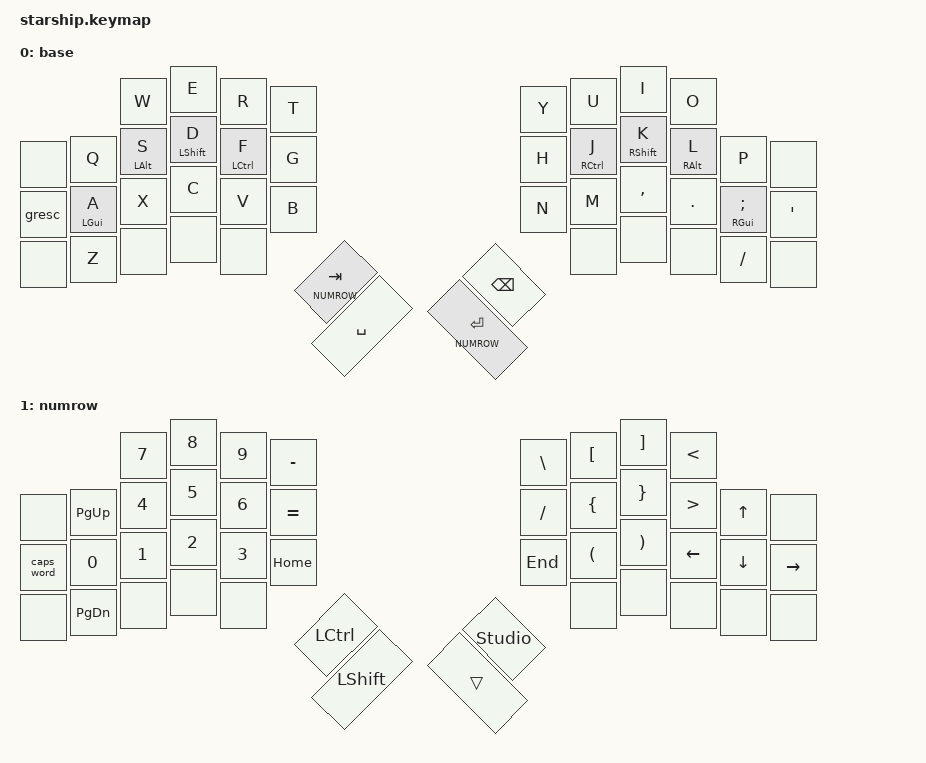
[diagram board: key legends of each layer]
#include <behaviors.dtsi>
#include <dt-bindings/zmk/keys.h>
#include <dt-bindings/zmk/bt.h>

#define NUMROW 1 

#define KEYS_L 0 1 2 3 8 9 10 11 12 13 20 21 22 23 24 25 32 33 34 35 36
#define KEYS_R 4 5 6 7 14 15 16 17 18 19 26 27 28 29 30 31 37 38 39 40 41
#define THUMBS 42 43 44 45

/ {
  behaviors {
    hml: home_row_mod_left {
      compatible = "zmk,behavior-hold-tap";
      #binding-cells = <2>;
      flavor = "balanced";
      require-prior-idle-ms = <150>;
      tapping-term-ms = <280>;
      quick-tap-ms = <175>;
      bindings = <&kp>, <&kp>;
      hold-trigger-key-positions = < KEYS_R THUMBS>; // List of keys on the right side of the keyboard
      hold-trigger-on-release;
    };
    hmr: home_row_mod_right {
      compatible = "zmk,behavior-hold-tap";
      #binding-cells = <2>;
      flavor = "balanced";
      require-prior-idle-ms = <150>;
      tapping-term-ms = <280>;
      quick-tap-ms = <175>;
      bindings = <&kp>, <&kp>;
      hold-trigger-key-positions = < KEYS_L THUMBS>; // List of keys on the left side of the keyboard
      hold-trigger-on-release;
    };
    //same as home row mods but without require-prior-idle-ms and a (very slightly) faster tapping term for shift
    hsl: home_row_shift_left {
      compatible = "zmk,behavior-hold-tap";
      #binding-cells = <2>;
      flavor = "balanced";
      tapping-term-ms = <200>;
      quick-tap-ms = <175>;
      bindings = <&kp>, <&kp>;
      hold-trigger-key-positions = < KEYS_R THUMBS>; // List of keys on the right side of the keyboard
      hold-trigger-on-release;
    };
    hsr: home_row_shift_right {
      compatible = "zmk,behavior-hold-tap";
      #binding-cells = <2>;
      flavor = "balanced";
      tapping-term-ms = <200>;
      quick-tap-ms = <175>;
      bindings = <&kp>, <&kp>;
      hold-trigger-key-positions = < KEYS_L THUMBS>; // List of keys on the left side of the keyboard
      hold-trigger-on-release;
    };
  };

  keymap {
    compatible = "zmk,keymap";

    default_layer {
      display-name = "base";
      bindings = <
                         &kp W           &kp E            &kp R          &kp T               &kp Y          &kp U            &kp I            &kp O  
&none      &kp Q         &hml LALT S     &hsl LSHIFT D    &hml LCTRL F   &kp G               &kp H          &hmr RCTRL J     &hsr RSHIFT K    &hmr RALT L     &kp P             &none
&gresc     &hml LGUI A   &kp X           &kp C            &kp V          &kp B               &kp N          &kp M            &kp COMMA        &kp DOT         &hmr RGUI SEMI    &kp APOS  
&none      &kp Z         &none           &none            &none                                             &none            &none            &none           &kp FSLH          &none  
                                                                         &lt NUMROW TAB      &kp BSPC  
                                                                         &kp SPACE           &lt NUMROW RET  
      >;
    };
    numrow_layer {
      display-name = "numrow";
      bindings = <
                            &kp N7    &kp N8    &kp N9    &kp MINUS        &kp BSLH    &kp LBKT    &kp RBKT    &kp LT  
&none          &kp PG_UP    &kp N4    &kp N5    &kp N6    &kp EQUAL        &kp FSLH    &kp LBRC    &kp RBRC    &kp GT      &kp UP      &none
&caps_word     &kp N0       &kp N1    &kp N2    &kp N3    &kp HOME         &kp END     &kp LPAR    &kp RPAR    &kp LEFT    &kp DOWN    &kp RIGHT  
&none          &kp PG_DN    &none     &none     &none                                  &none       &none       &none       &none       &none  
                                                          &kp LCTRL        &studio_unlock  
                                                          &kp LSHIFT       &trans 
      >;
    };
    layer_2 { status = "reserved"; };
    layer_3 { status = "reserved"; };
    layer_4 { status = "reserved"; };
    layer_5 { status = "reserved"; };
  };
};
